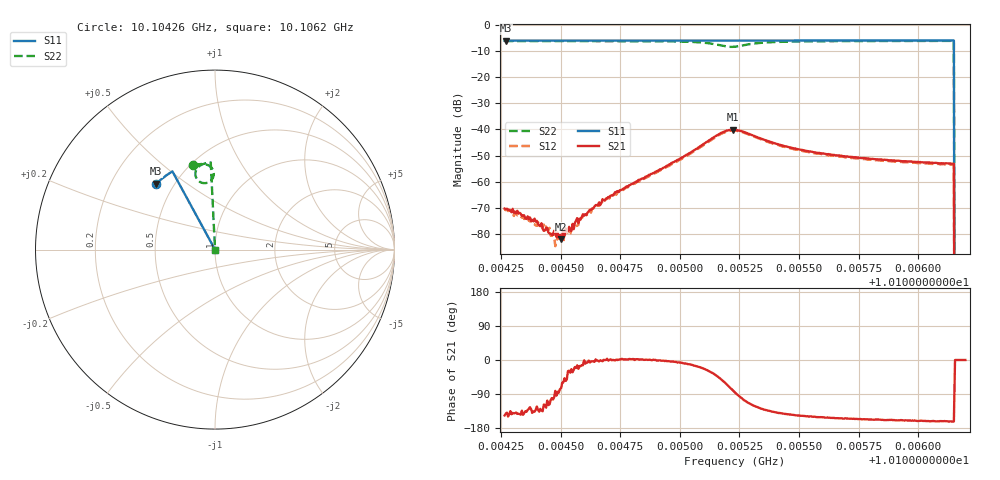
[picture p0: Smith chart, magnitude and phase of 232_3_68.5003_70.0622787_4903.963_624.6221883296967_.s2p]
#  HZ  S  RI  R  50.00
! Rohde & Schwarz Vector Network Analyzer
! Rohde-Schwarz,ZNB20-2Port,1311601062101988,3.16
! Created: UTC 3/20/2024, 5:14:06 PM
! freq[Hz]  re:S11  im:S11  re:S21  im:S21  re:S12  im:S12  re:S22  im:S22
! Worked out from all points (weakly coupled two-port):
!   401 points, 10.10426 GHz to 10.1062 GHz, reference 50 ohm
!   highest |S21| = -40.18 dB at 10.10522 GHz (marker M1); lowest = -81.9 dB at 10.1045 GHz (marker M2)
!   lowest |S11| = -6.2 dB at 10.10427 GHz (marker M3), VSWR 2.93, Z = 20 + j19.3 ohm
!   |S11| at or under -10 dB: 10.10615 GHz to end of sweep
!   |S22| runs from - to -6.3 dB; largest |S21 - S12| = 0.0011
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1.0104265e10  -0.3278 0.3663  -0.000256 -0.00017  -0.000225 -0.00019  -0.12 0.4688
1.0104269e10  -0.3275 0.3665  -0.000235 -0.000188  -0.000222 -0.000181  -0.1195 0.4689
1.0104352e10  -0.3238 0.3699  -0.000141 -0.00014  -0.000149 -0.00016  -0.1135 0.4703
1.010439e10  -0.3221 0.3717  -0.000143 -0.000136  -0.000104 -0.000113  -0.1107 0.471
1.0104419e10  -0.3209 0.3729  -0.000111 -0.000117  -7.86e-05 -0.000136  -0.1085 0.4716
1.0104458e10  -0.3191 0.3745  -2.7e-05 -9.69e-05  -9.04e-07 -9.35e-05  -0.1054 0.4723
1.0104502e10  -0.3172 0.3762  2.17e-05 -7.75e-05  2.42e-05 -8.04e-05  -0.1019 0.4731
1.0104531e10  -0.3158 0.3774  0.0001 -5.6e-05  0.000119 -5.21e-05  -0.0995 0.4736
1.010455e10  -0.315 0.3781  0.000132 -8.36e-05  0.000139 -4.58e-05  -0.0979 0.4739
1.010456e10  -0.3145 0.3787  0.000154 -5.19e-05  0.000141 -3.32e-05  -0.0971 0.4741
1.0104589e10  -0.3132 0.3798  0.000208 -4.97e-05  0.000192 -2.8e-05  -0.0945 0.4746
1.0104734e10  -0.3067 0.3856  0.000634 1.38e-05  0.000565 5.41e-05  -0.0807 0.4764
1.0104913e10  -0.2982 0.3926  0.00167 -2.94e-05  0.0016 0.000124  -0.058 0.476
1.0105169e10  -0.2858 0.402  0.00547 -0.00624  0.0059 -0.00538  -0.0108 0.4017
1.0105222e10  -0.2834 0.4036  0.0017 -0.00965  0.00259 -0.0091  -0.0573 0.3701
1.0105232e10  -0.283 0.404  0.00074 -0.00974  0.0016 -0.00932  -0.0685 0.3712
1.0105415e10  -0.2744 0.411  -0.00393 -0.0033  -0.00349 -0.00357  -0.0965 0.4559
1.0105556e10  -0.2676 0.4163  -0.0032 -0.0019  -0.00291 -0.0021  -0.0767 0.4719
1.0105879e10  -0.2513 0.4271  -0.00237 -0.000951  -0.0022 -0.00113  -0.0449 0.4827
1.0106141e10  -0.2378 0.4356  -0.00211 -0.000675  -0.00195 -0.000836  -0.0244 0.486
1.0106165e10  0 0  0 0  0 0  0 0
1.0106199e10  0 0  0 0  0 0  0 0
